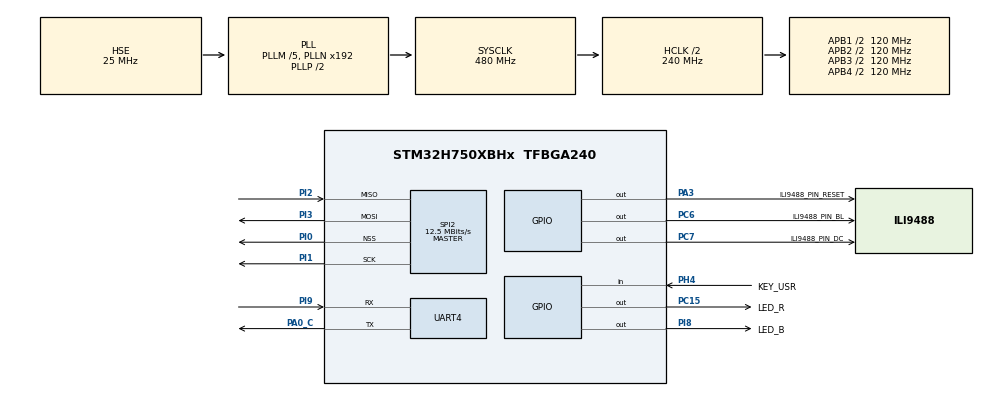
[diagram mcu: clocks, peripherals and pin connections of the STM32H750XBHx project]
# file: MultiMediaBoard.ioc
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CORTEX_M7.AccessPermission_S-Cortex_Memory_Protection_Unit_Region1_Settings_S=MPU_REGION_FULL_ACCESS
CORTEX_M7.AccessPermission_S-Cortex_Memory_Protection_Unit_Region2_Settings_S=MPU_REGION_FULL_ACCESS
CORTEX_M7.AccessPermission_S-Cortex_Memory_Protection_Unit_Region3_Settings_S=MPU_REGION_FULL_ACCESS
CORTEX_M7.AccessPermission_S-Cortex_Memory_Protection_Unit_Region4_Settings_S=MPU_REGION_FULL_ACCESS
CORTEX_M7.AccessPermission_S-Cortex_Memory_Protection_Unit_Region5_Settings_S=MPU_REGION_FULL_ACCESS
CORTEX_M7.AccessPermission_S-Cortex_Memory_Protection_Unit_Region6_Settings_S=MPU_REGION_FULL_ACCESS
CORTEX_M7.AccessPermission_S-Cortex_Memory_Protection_Unit_Region7_Settings_S=MPU_REGION_FULL_ACCESS
CORTEX_M7.AccessPermission_Spec=MPU_REGION_FULL_ACCESS
CORTEX_M7.BaseAddress_S-Cortex_Memory_Protection_Unit_Region1_Settings_S=0x24000000
CORTEX_M7.BaseAddress_S-Cortex_Memory_Protection_Unit_Region2_Settings_S=0xC0000000
CORTEX_M7.BaseAddress_S-Cortex_Memory_Protection_Unit_Region3_Settings_S=0x30000000
CORTEX_M7.BaseAddress_S-Cortex_Memory_Protection_Unit_Region4_Settings_S=0x30040000
CORTEX_M7.BaseAddress_S-Cortex_Memory_Protection_Unit_Region5_Settings_S=0x38000000
CORTEX_M7.BaseAddress_S-Cortex_Memory_Protection_Unit_Region6_Settings_S=0x38800000
CORTEX_M7.BaseAddress_S-Cortex_Memory_Protection_Unit_Region7_Settings_S=0xC0000000
CORTEX_M7.BaseAddress_Spec=0x90000000
CORTEX_M7.CPU_DCache=Enabled
CORTEX_M7.CPU_ICache=Enabled
CORTEX_M7.DisableExec_Spec=MPU_INSTRUCTION_ACCESS_ENABLE
CORTEX_M7.Enable_S-Cortex_Memory_Protection_Unit_Region1_Settings_S=MPU_REGION_ENABLE
CORTEX_M7.Enable_S-Cortex_Memory_Protection_Unit_Region2_Settings_S=MPU_REGION_ENABLE
CORTEX_M7.Enable_S-Cortex_Memory_Protection_Unit_Region3_Settings_S=MPU_REGION_ENABLE
CORTEX_M7.Enable_S-Cortex_Memory_Protection_Unit_Region4_Settings_S=MPU_REGION_ENABLE
CORTEX_M7.Enable_S-Cortex_Memory_Protection_Unit_Region5_Settings_S=MPU_REGION_ENABLE
CORTEX_M7.Enable_S-Cortex_Memory_Protection_Unit_Region6_Settings_S=MPU_REGION_ENABLE
CORTEX_M7.Enable_S-Cortex_Memory_Protection_Unit_Region7_Settings_S=MPU_REGION_ENABLE
CORTEX_M7.IsBufferable_S-Cortex_Memory_Protection_Unit_Region1_Settings_S=MPU_ACCESS_NOT_BUFFERABLE
CORTEX_M7.IsBufferable_S-Cortex_Memory_Protection_Unit_Region2_Settings_S=MPU_ACCESS_BUFFERABLE
CORTEX_M7.IsBufferable_S-Cortex_Memory_Protection_Unit_Region3_Settings_S=MPU_ACCESS_BUFFERABLE
CORTEX_M7.IsBufferable_S-Cortex_Memory_Protection_Unit_Region4_Settings_S=MPU_ACCESS_BUFFERABLE
CORTEX_M7.IsBufferable_S-Cortex_Memory_Protection_Unit_Region5_Settings_S=MPU_ACCESS_BUFFERABLE
CORTEX_M7.IsBufferable_S-Cortex_Memory_Protection_Unit_Region7_Settings_S=MPU_ACCESS_BUFFERABLE
CORTEX_M7.IsBufferable_Spec=MPU_ACCESS_BUFFERABLE
CORTEX_M7.IsCacheable_S-Cortex_Memory_Protection_Unit_Region1_Settings_S=MPU_ACCESS_NOT_CACHEABLE
CORTEX_M7.IsCacheable_S-Cortex_Memory_Protection_Unit_Region2_Settings_S=MPU_ACCESS_CACHEABLE
CORTEX_M7.IsCacheable_S-Cortex_Memory_Protection_Unit_Region3_Settings_S=MPU_ACCESS_CACHEABLE
CORTEX_M7.IsCacheable_S-Cortex_Memory_Protection_Unit_Region4_Settings_S=MPU_ACCESS_CACHEABLE
CORTEX_M7.IsCacheable_S-Cortex_Memory_Protection_Unit_Region5_Settings_S=MPU_ACCESS_CACHEABLE
CORTEX_M7.IsCacheable_S-Cortex_Memory_Protection_Unit_Region6_Settings_S=MPU_ACCESS_NOT_CACHEABLE
CORTEX_M7.IsCacheable_Spec=MPU_ACCESS_CACHEABLE
CORTEX_M7.IsShareable_Spec=MPU_ACCESS_NOT_SHAREABLE
CORTEX_M7.MPU_Control=MPU_HFNMI_PRIVDEF
CORTEX_M7.Size_S-Cortex_Memory_Protection_Unit_Region1_Settings_S=MPU_REGION_SIZE_512KB
CORTEX_M7.Size_S-Cortex_Memory_Protection_Unit_Region2_Settings_S=MPU_REGION_SIZE_512KB
CORTEX_M7.Size_S-Cortex_Memory_Protection_Unit_Region3_Settings_S=MPU_REGION_SIZE_256KB
CORTEX_M7.Size_S-Cortex_Memory_Protection_Unit_Region4_Settings_S=MPU_REGION_SIZE_32KB
CORTEX_M7.Size_S-Cortex_Memory_Protection_Unit_Region5_Settings_S=MPU_REGION_SIZE_64KB
CORTEX_M7.Size_S-Cortex_Memory_Protection_Unit_Region6_Settings_S=MPU_REGION_SIZE_4KB
CORTEX_M7.Size_S-Cortex_Memory_Protection_Unit_Region7_Settings_S=MPU_REGION_SIZE_64KB
CORTEX_M7.Size_Spec=MPU_REGION_SIZE_256MB
CORTEX_M7.SubRegionDisable_Spec=0x0
CORTEX_M7.TypeExtField_S-Cortex_Memory_Protection_Unit_Region1_Settings_S=MPU_TEX_LEVEL1
CORTEX_M7.TypeExtField_S-Cortex_Memory_Protection_Unit_Region2_Settings_S=MPU_TEX_LEVEL1
CORTEX_M7.TypeExtField_S-Cortex_Memory_Protection_Unit_Region3_Settings_S=MPU_TEX_LEVEL1
CORTEX_M7.TypeExtField_S-Cortex_Memory_Protection_Unit_Region4_Settings_S=MPU_TEX_LEVEL1
CORTEX_M7.TypeExtField_S-Cortex_Memory_Protection_Unit_Region5_Settings_S=MPU_TEX_LEVEL1
CORTEX_M7.TypeExtField_S-Cortex_Memory_Protection_Unit_Region6_Settings_S=MPU_TEX_LEVEL1
CORTEX_M7.TypeExtField_Spec=MPU_TEX_LEVEL1
CORTEX_M7.default_mode_Activation=1
Dma.Request0=SPI2_TX
Dma.Request1=UART4_RX
Dma.SPI2_TX.0.Direction=DMA_MEMORY_TO_PERIPH
Dma.SPI2_TX.0.EventEnable=DISABLE
Dma.SPI2_TX.0.FIFOMode=DMA_FIFOMODE_DISABLE
Dma.SPI2_TX.0.Instance=DMA1_Stream0
Dma.SPI2_TX.0.MemDataAlignment=DMA_MDATAALIGN_BYTE
Dma.SPI2_TX.0.MemInc=DMA_MINC_ENABLE
Dma.SPI2_TX.0.Mode=DMA_NORMAL
Dma.SPI2_TX.0.PeriphDataAlignment=DMA_PDATAALIGN_BYTE
Dma.SPI2_TX.0.PeriphInc=DMA_PINC_DISABLE
Dma.SPI2_TX.0.Polarity=HAL_DMAMUX_REQ_GEN_RISING
Dma.SPI2_TX.0.Priority=DMA_PRIORITY_LOW
Dma.SPI2_TX.0.RequestNumber=1
Dma.SPI2_TX.0.SignalID=NONE
Dma.SPI2_TX.0.SyncEnable=DISABLE
Dma.SPI2_TX.0.SyncPolarity=HAL_DMAMUX_SYNC_NO_EVENT
Dma.SPI2_TX.0.SyncRequestNumber=1
Dma.SPI2_TX.0.SyncSignalID=NONE
Dma.UART4_RX.1.Direction=DMA_PERIPH_TO_MEMORY
Dma.UART4_RX.1.EventEnable=DISABLE
Dma.UART4_RX.1.FIFOMode=DMA_FIFOMODE_DISABLE
Dma.UART4_RX.1.Instance=DMA1_Stream1
Dma.UART4_RX.1.MemDataAlignment=DMA_MDATAALIGN_BYTE
Dma.UART4_RX.1.MemInc=DMA_MINC_ENABLE
Dma.UART4_RX.1.Mode=DMA_NORMAL
Dma.UART4_RX.1.PeriphDataAlignment=DMA_PDATAALIGN_BYTE
Dma.UART4_RX.1.PeriphInc=DMA_PINC_DISABLE
Dma.UART4_RX.1.Polarity=HAL_DMAMUX_REQ_GEN_RISING
Dma.UART4_RX.1.Priority=DMA_PRIORITY_LOW
Dma.UART4_RX.1.RequestNumber=1
Dma.UART4_RX.1.SignalID=NONE
Dma.UART4_RX.1.SyncEnable=DISABLE
Dma.UART4_RX.1.SyncPolarity=HAL_DMAMUX_SYNC_NO_EVENT
Dma.UART4_RX.1.SyncRequestNumber=1
Dma.UART4_RX.1.SyncSignalID=NONE
Mcu.Family=STM32H7
Mcu.Name=STM32H750XBHx
Mcu.Package=TFBGA240
NVIC.DMA1_Stream0_IRQn=true\:11\:0\:true\:false\:true\:true\:false\:true\:true
NVIC.DMA1_Stream1_IRQn=true\:13\:0\:true\:false\:true\:true\:false\:true\:true
NVIC.PriorityGroup=NVIC_PRIORITYGROUP_4
NVIC.SPI2_IRQn=true\:12\:0\:true\:false\:true\:false\:false\:true\:true
NVIC.TIM6_DAC_IRQn=true\:15\:0\:false\:false\:true\:false\:false\:true\:true
NVIC.TimeBase=TIM6_DAC_IRQn
NVIC.TimeBaseIP=TIM6
NVIC.UART4_IRQn=true\:14\:0\:true\:false\:true\:false\:true\:true\:true
PA0_C.Mode=Asynchronous
PA0_C.Signal=UART4_TX
PA3.GPIO_Label=ILI9488_PIN_RESET
PA3.GPIO_Speed=GPIO_SPEED_FREQ_VERY_HIGH
PA3.Signal=GPIO_Output
PC14-OSC32_IN\ (OSC32_IN).Mode=LSE-External-Clock-Source
PC14-OSC32_IN\ (OSC32_IN).Signal=RCC_OSC32_IN
PC15-OSC32_OUT\ (OSC32_OUT).GPIO_Label=LED_R
PC15-OSC32_OUT\ (OSC32_OUT).PinState=GPIO_PIN_SET
PC15-OSC32_OUT\ (OSC32_OUT).Signal=GPIO_Output
PC6.GPIO_Label=ILI9488_PIN_BL
PC6.GPIO_Speed=GPIO_SPEED_FREQ_VERY_HIGH
PC6.Signal=GPIO_Output
PC7.GPIO_Label=ILI9488_PIN_DC
PC7.GPIO_Speed=GPIO_SPEED_FREQ_VERY_HIGH
PC7.Signal=GPIO_Output
PH0-OSC_IN\ (PH0).Mode=HSE-External-Oscillator
PH0-OSC_IN\ (PH0).Signal=RCC_OSC_IN
PH1-OSC_OUT\ (PH1).Mode=HSE-External-Oscillator
PH1-OSC_OUT\ (PH1).Signal=RCC_OSC_OUT
PH4.GPIO_Label=KEY_USR
PH4.GPIO_PuPd=GPIO_PULLUP
PH4.Signal=GPIO_Input
PI0.Mode=NSS_Signal_Hard_Output
PI0.Signal=SPI2_NSS
PI1.Mode=Full_Duplex_Master
PI1.Signal=SPI2_SCK
PI2.Mode=Full_Duplex_Master
PI2.Signal=SPI2_MISO
PI3.Mode=Full_Duplex_Master
PI3.Signal=SPI2_MOSI
PI8.GPIO_Label=LED_B
PI8.PinState=GPIO_PIN_SET
PI8.Signal=GPIO_Output
PI9.Mode=Asynchronous
PI9.Signal=UART4_RX
ProjectManager.HeapSize=0x1000
ProjectManager.StackSize=0x1000
ProjectManager.TargetToolchain=MDK-ARM V5.32
RCC.ADCFreq_Value=300000000
RCC.APB1Freq_Value=120000000
RCC.APB2Freq_Value=120000000
RCC.APB3Freq_Value=120000000
RCC.APB4Freq_Value=120000000
RCC.CortexFreq_Value=480000000
RCC.D1PPRE=RCC_APB3_DIV2
RCC.D2PPRE1=RCC_APB1_DIV2
RCC.D2PPRE2=RCC_APB2_DIV2
RCC.D3PPRE=RCC_APB4_DIV2
RCC.DIVM1=5
RCC.DIVM2=5
RCC.DIVM3=5
RCC.DIVN1=192
RCC.DIVN2=120
RCC.DIVN3=80
RCC.FMCCLockSelection=RCC_FMCCLKSOURCE_PLL2
RCC.HCLKFreq_Value=240000000
RCC.HPRE=RCC_HCLK_DIV2
RCC.PLLSourceVirtual=RCC_PLLSOURCE_HSE
RCC.PWR_Regulator_Voltage_Scale=PWR_REGULATOR_VOLTAGE_SCALE0
RCC.ProductRev=revV
RCC.SPI123CLockSelection=RCC_SPI123CLKSOURCE_PLL3
RCC.SYSCLKFreq_VALUE=480000000
RCC.SYSCLKSource=RCC_SYSCLKSOURCE_PLLCLK
RCC.USBFreq_Value=480000000
SPI2.BaudRatePrescaler=SPI_BAUDRATEPRESCALER_16
SPI2.CalculateBaudRate=12.5 MBits/s
SPI2.Direction=SPI_DIRECTION_2LINES
SPI2.Mode=SPI_MODE_MASTER
SPI2.VirtualNSS=VM_NSSHARD
SPI2.VirtualType=VM_MASTER
STMicroelectronics.X-CUBE-AZRTOS-H7.3.1.0.ALIGN_TYPE_DEFINED=0
STMicroelectronics.X-CUBE-AZRTOS-H7.3.1.0.AZRTOS_APP_MEM_ALLOCATION_METHOD=0
STMicroelectronics.X-CUBE-AZRTOS-H7.3.1.0.TX_APP_CREATION=1
STMicroelectronics.X-CUBE-AZRTOS-H7.3.1.0.TX_APP_GENERATE_INIT_CODE=false
STMicroelectronics.X-CUBE-AZRTOS-H7.3.1.0.TX_APP_MEM_POOL_SIZE=8192
STMicroelectronics.X-CUBE-AZRTOS-H7.3.1.0.TX_BASEPRI_SUPPORT=1
STMicroelectronics.X-CUBE-AZRTOS-H7.3.1.0.TX_DISABLE_ERROR_CHECKING=0
STMicroelectronics.X-CUBE-AZRTOS-H7.3.1.0.TX_DISABLE_NOTIFY_CALLBACKS=0
STMicroelectronics.X-CUBE-AZRTOS-H7.3.1.0.TX_ENABLE_STACK_CHECKING=1
STMicroelectronics.X-CUBE-AZRTOS-H7.3.1.0.TX_MINIMUM_STACK=512
STMicroelectronics.X-CUBE-AZRTOS-H7.3.1.0.TX_MUTEX_ENABLE_PERFORMANCE_INFO=1
STMicroelectronics.X-CUBE-AZRTOS-H7.3.1.0.TX_SEMAPHORE_ENABLE_PERFORMANCE_INFO=1
STMicroelectronics.X-CUBE-AZRTOS-H7.3.1.0.TX_THREAD_ENABLE_PERFORMANCE_INFO=1
STMicroelectronics.X-CUBE-AZRTOS-H7.3.1.0.TX_TIMER_TICKS_PER_SECOND=1000
STMicroelectronics.X-CUBE-AZRTOS-H7.3.1.0.ThreadXCcRTOSJjThreadXJjCore=true
STMicroelectronics.X-CUBE-AZRTOS-H7.3.1.0_IsAnAzureRtosMw=true
UART4.FIFOMode=FIFOMODE_ENABLE
UART4.RXFIFOThreshold=RXFIFO_THRESHOLD_FULL
VP_STMicroelectronics.X-CUBE-AZRTOS-H7_VS_RTOSJjThreadX_6.2.0_3.1.0.Mode=RTOSJjThreadX
VP_SYS_VS_tim6.Mode=TIM6
board=custom

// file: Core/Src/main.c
/* USER CODE BEGIN Header */
/**
  ******************************************************************************
  * @file           : main.c
  * @brief          : Main program body
  ******************************************************************************
  * @attention
  *
  * Copyright (c) 2023 STMicroelectronics.
  * All rights reserved.
  *
  * This software is licensed under terms that can be found in the LICENSE file
  * in the root directory of this software component.
  * If no LICENSE file comes with this software, it is provided AS-IS.
  *
  ******************************************************************************
  */
/* USER CODE END Header */
#include "app_threadx.h"
#include "main.h"
#include "dma.h"
#include "spi.h"
#include "usart.h"
#include "gpio.h"

/* USER CODE BEGIN Includes */
#include <stdio.h>
#include "EventRecorder.h"

/* USER CODE END Includes */

void SystemClock_Config(void);
static void MPU_Config(void);

/* USER CODE BEGIN 0 */
static void vtor_config(void)
{
    /* 1.Rebase Vector */
    SCB->VTOR = QSPI_BASE;

    /* 2.Clear all NVIC Enable and Pending registers */
    for(uint8_t i = 0; i < 8; i++)
    {
        NVIC->ICER[i] = 0xFFFFFFFF;
        NVIC->ICPR[i] = 0xFFFFFFFF;
    }

    /* 3.Enable interruption */
    __enable_irq();
    __set_PRIMASK(0);
}

static void dwt_init(void)
{
    DWT->CTRL |= DWT_CTRL_CYCCNTENA_Msk;
    DWT->CYCCNT = (uint32_t)0u;
    CoreDebug->DEMCR |= CoreDebug_DEMCR_TRCENA_Msk;
}
/* USER CODE END 0 */

int main(void)
{
    /* USER CODE BEGIN 1 */
    vtor_config();
    dwt_init();
    /* USER CODE END 1 */

    /* MPU Configuration--------------------------------------------------------*/
    MPU_Config();

    /* Enable I-Cache---------------------------------------------------------*/
    SCB_EnableICache();

    /* Enable D-Cache---------------------------------------------------------*/
    SCB_EnableDCache();

    /* MCU Configuration--------------------------------------------------------*/

    /* Reset of all peripherals, Initializes the Flash interface and the Systick. */
    HAL_Init();

    /* Configure the system clock */
    SystemClock_Config();

    /* Initialize all configured peripherals */
    MX_GPIO_Init();
    MX_DMA_Init();
    MX_SPI2_Init();
    MX_UART4_Init();
    /* USER CODE BEGIN 2 */
    SystemCoreClockUpdate();
    init_cycle_counter(true);
#ifdef EventRecorder_ENABLE
    EventRecorderInitialize(EventRecordAll, 1U);
    EventRecorderStart();
#endif
    /* USER CODE END 2 */

    MX_ThreadX_Init();

    /* We should never get here as control is now taken by the scheduler */
    /* Infinite loop */
    while (1)
    {

    }
}

void SystemClock_Config(void)
{
    RCC_OscInitTypeDef RCC_OscInitStruct = {0};
    RCC_ClkInitTypeDef RCC_ClkInitStruct = {0};

    /** Supply configuration update enable
    */
    HAL_PWREx_ConfigSupply(PWR_LDO_SUPPLY);

    /** Configure the main internal regulator output voltage
    */
    __HAL_PWR_VOLTAGESCALING_CONFIG(PWR_REGULATOR_VOLTAGE_SCALE1);

    while(!__HAL_PWR_GET_FLAG(PWR_FLAG_VOSRDY)) {}

    __HAL_RCC_SYSCFG_CLK_ENABLE();
    __HAL_PWR_VOLTAGESCALING_CONFIG(PWR_REGULATOR_VOLTAGE_SCALE0);

    while(!__HAL_PWR_GET_FLAG(PWR_FLAG_VOSRDY)) {}

    /** Initializes the RCC Oscillators according to the specified parameters
    * in the RCC_OscInitTypeDef structure.
    */
    RCC_OscInitStruct.OscillatorType = RCC_OSCILLATORTYPE_HSE;
    RCC_OscInitStruct.HSEState = RCC_HSE_ON;
    RCC_OscInitStruct.PLL.PLLState = RCC_PLL_ON;
    RCC_OscInitStruct.PLL.PLLSource = RCC_PLLSOURCE_HSE;
    RCC_OscInitStruct.PLL.PLLM = 5;
    RCC_OscInitStruct.PLL.PLLN = 192;
    RCC_OscInitStruct.PLL.PLLP = 2;
    RCC_OscInitStruct.PLL.PLLQ = 2;
    RCC_OscInitStruct.PLL.PLLR = 2;
    RCC_OscInitStruct.PLL.PLLRGE = RCC_PLL1VCIRANGE_2;
    RCC_OscInitStruct.PLL.PLLVCOSEL = RCC_PLL1VCOWIDE;
    RCC_OscInitStruct.PLL.PLLFRACN = 0;
    if (HAL_RCC_OscConfig(&RCC_OscInitStruct) != HAL_OK)
    {
        Error_Handler();
    }

    /** Initializes the CPU, AHB and APB buses clocks
    */
    RCC_ClkInitStruct.ClockType = RCC_CLOCKTYPE_HCLK | RCC_CLOCKTYPE_SYSCLK
                                  | RCC_CLOCKTYPE_PCLK1 | RCC_CLOCKTYPE_PCLK2
                                  | RCC_CLOCKTYPE_D3PCLK1 | RCC_CLOCKTYPE_D1PCLK1;
    RCC_ClkInitStruct.SYSCLKSource = RCC_SYSCLKSOURCE_PLLCLK;
    RCC_ClkInitStruct.SYSCLKDivider = RCC_SYSCLK_DIV1;
    RCC_ClkInitStruct.AHBCLKDivider = RCC_HCLK_DIV2;
    RCC_ClkInitStruct.APB3CLKDivider = RCC_APB3_DIV2;
    RCC_ClkInitStruct.APB1CLKDivider = RCC_APB1_DIV2;
    RCC_ClkInitStruct.APB2CLKDivider = RCC_APB2_DIV2;
    RCC_ClkInitStruct.APB4CLKDivider = RCC_APB4_DIV2;

    if (HAL_RCC_ClockConfig(&RCC_ClkInitStruct, FLASH_LATENCY_4) != HAL_OK)
    {
        Error_Handler();
    }
}

/* USER CODE BEGIN 4 */
#ifndef EventRecorder_ENABLE
#ifndef __MICROLIB 			// BEAB BKPT 0xAB
__asm (".global __use_no_semihosting\n\t");
void _sys_exit(int x) 		//避免使用半主机模式
{
    x = x;
}
//__use_no_semihosting was requested, but _ttywrch was
void _ttywrch(int ch)
{
    ch = ch;
}
struct __FILE
{
    int handle;
};
FILE __stdout;
#endif
#if defined ( __GNUC__ ) && !defined (__clang__)
#define PUTCHAR_PROTOTYPE int __io_putchar(int ch)
#else
#define PUTCHAR_PROTOTYPE int fputc(int ch, FILE *f)
#endif
PUTCHAR_PROTOTYPE
{
    HAL_UART_Transmit(&huart4, (uint8_t *)&ch, 1, 1000);
    return ch;
}
#endif

/* USER CODE END 4 */

/* MPU Configuration */

void MPU_Config(void)
{
    MPU_Region_InitTypeDef MPU_InitStruct = {0};

    /* Disables the MPU */
    HAL_MPU_Disable();

    /** Initializes and configures the Region and the memory to be protected
    */
    MPU_InitStruct.Enable = MPU_REGION_ENABLE;
    MPU_InitStruct.Number = MPU_REGION_NUMBER0;
    MPU_InitStruct.BaseAddress = 0x90000000;
    MPU_InitStruct.Size = MPU_REGION_SIZE_256MB;
    MPU_InitStruct.SubRegionDisable = 0x0;
    MPU_InitStruct.TypeExtField = MPU_TEX_LEVEL1;
    MPU_InitStruct.AccessPermission = MPU_REGION_FULL_ACCESS;
    MPU_InitStruct.DisableExec = MPU_INSTRUCTION_ACCESS_ENABLE;
    MPU_InitStruct.IsShareable = MPU_ACCESS_NOT_SHAREABLE;
    MPU_InitStruct.IsCacheable = MPU_ACCESS_CACHEABLE;
    MPU_InitStruct.IsBufferable = MPU_ACCESS_BUFFERABLE;

    HAL_MPU_ConfigRegion(&MPU_InitStruct);

    /** Initializes and configures the Region and the memory to be protected
    */
    MPU_InitStruct.Number = MPU_REGION_NUMBER1;
    MPU_InitStruct.BaseAddress = 0x24000000;
    MPU_InitStruct.Size = MPU_REGION_SIZE_512KB;
    MPU_InitStruct.IsCacheable = MPU_ACCESS_NOT_CACHEABLE;
    MPU_InitStruct.IsBufferable = MPU_ACCESS_NOT_BUFFERABLE;

    HAL_MPU_ConfigRegion(&MPU_InitStruct);

    /** Initializes and configures the Region and the memory to be protected
    */
    MPU_InitStruct.Number = MPU_REGION_NUMBER2;
    MPU_InitStruct.BaseAddress = 0xC0000000;
    MPU_InitStruct.IsCacheable = MPU_ACCESS_CACHEABLE;
    MPU_InitStruct.IsBufferable = MPU_ACCESS_BUFFERABLE;

    HAL_MPU_ConfigRegion(&MPU_InitStruct);

    /** Initializes and configures the Region and the memory to be protected
    */
    MPU_InitStruct.Number = MPU_REGION_NUMBER3;
    MPU_InitStruct.BaseAddress = 0x30000000;
    MPU_InitStruct.Size = MPU_REGION_SIZE_256KB;

    HAL_MPU_ConfigRegion(&MPU_InitStruct);

    /** Initializes and configures the Region and the memory to be protected
    */
    MPU_InitStruct.Number = MPU_REGION_NUMBER4;
    MPU_InitStruct.BaseAddress = 0x30040000;
    MPU_InitStruct.Size = MPU_REGION_SIZE_32KB;

    HAL_MPU_ConfigRegion(&MPU_InitStruct);

    /** Initializes and configures the Region and the memory to be protected
    */
    MPU_InitStruct.Number = MPU_REGION_NUMBER5;
    MPU_InitStruct.BaseAddress = 0x38000000;
    MPU_InitStruct.Size = MPU_REGION_SIZE_64KB;

    HAL_MPU_ConfigRegion(&MPU_InitStruct);

    /** Initializes and configures the Region and the memory to be protected
    */
    MPU_InitStruct.Number = MPU_REGION_NUMBER6;
    MPU_InitStruct.BaseAddress = 0x38800000;
    MPU_InitStruct.Size = MPU_REGION_SIZE_4KB;
    MPU_InitStruct.IsCacheable = MPU_ACCESS_NOT_CACHEABLE;
    MPU_InitStruct.IsBufferable = MPU_ACCESS_NOT_BUFFERABLE;

    HAL_MPU_ConfigRegion(&MPU_InitStruct);

    /** Initializes and configures the Region and the memory to be protected
    */
    MPU_InitStruct.Number = MPU_REGION_NUMBER7;
    MPU_InitStruct.BaseAddress = 0xC0000000;
    MPU_InitStruct.Size = MPU_REGION_SIZE_64KB;
    MPU_InitStruct.TypeExtField = MPU_TEX_LEVEL0;
    MPU_InitStruct.IsBufferable = MPU_ACCESS_BUFFERABLE;

    HAL_MPU_ConfigRegion(&MPU_InitStruct);
    /* Enables the MPU */
    HAL_MPU_Enable(MPU_HFNMI_PRIVDEF);

}

void HAL_TIM_PeriodElapsedCallback(TIM_HandleTypeDef *htim)
{
    if (htim->Instance == TIM6) {
        HAL_IncTick();
    }
}

void Error_Handler(void)
{
    __disable_irq();
    while (1)
    {
    }
}
